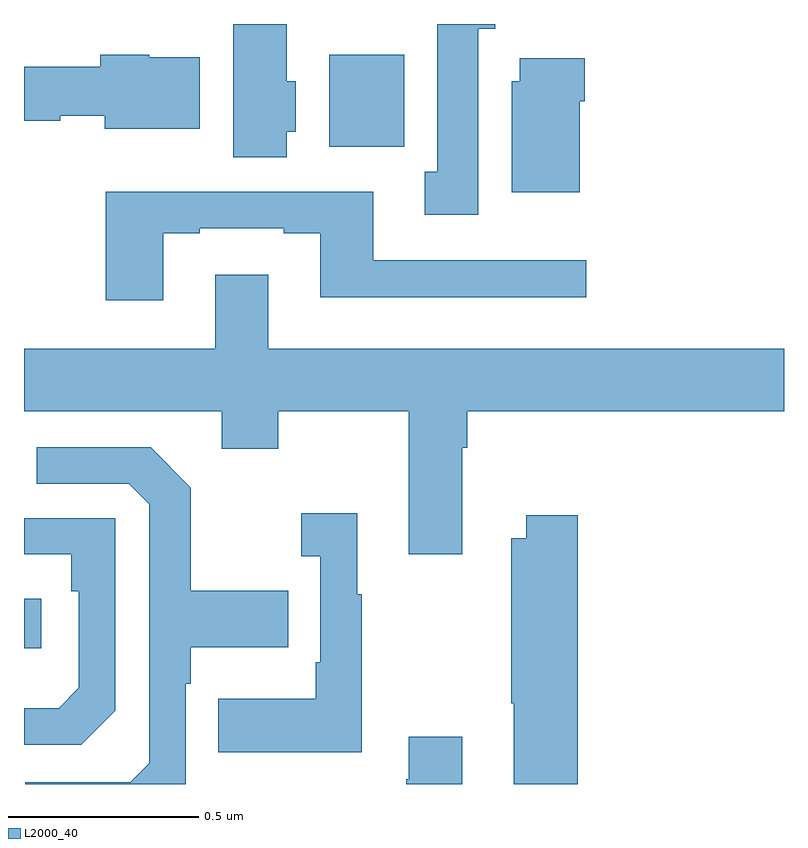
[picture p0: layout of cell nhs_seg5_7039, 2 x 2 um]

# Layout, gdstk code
import gdstk
lib = gdstk.Library(unit=1e-6, precision=1e-09)
def R(c, l, rs):  # rectangles x0, y0, x1, y1
    for r in rs: c.add(gdstk.rectangle(r[:2], r[2:], *l))
def P(c, l, *ps):  # polygons
    for p in ps: c.add(gdstk.Polygon(p, *l))
L2000_40 = (2000, 40)

nhs_seg5_7039 = lib.new_cell('nhs_seg5_7039')
R(nhs_seg5_7039, L2000_40, [(204,836.156,204.046,836.286), (204.803,837.476,205,837.718)])
P(nhs_seg5_7039, L2000_40, [(205.195,837.786),(205.24,837.786),(205.24,837.799),(205.088,837.799),(205.088,837.41),(205.055,837.41),(205.055,837.297),(205.195,837.297)],
  [(204.691,837.516),(204.715,837.516),(204.715,837.648),(204.691,837.648),(204.691,837.799),(204.551,837.799),(204.551,837.449),(204.691,837.449)],
  [(204.463,837.712),(204.33,837.712),(204.33,837.718),(204.2,837.718),(204.2,837.687),(204,837.687),(204,837.545),(204.096,837.545),(204.096,837.557),(204.212,837.557),(204.212,837.524),(204.463,837.524)],
  [(205.462,837.596),(205.475,837.596),(205.475,837.709),(205.304,837.709),(205.304,837.648),(205.283,837.648),(205.283,837.356),(205.462,837.356)],
  [(204.367,837.249),(204.463,837.249),(204.463,837.261),(204.683,837.261),(204.683,837.249),(204.779,837.249),(204.779,837.08),(205.48,837.08),(205.48,837.177),(204.919,837.177),(204.919,837.357),(204.459,837.357),(204.459,837.358),(204.215,837.358),(204.215,837.072),(204.367,837.072)],
  [(205.153,836.684),(205.166,836.684),(205.166,836.78),(206,836.78),(206,836.944),(204.643,836.944),(204.643,837.139),(204.503,837.139),(204.503,836.944),(204,836.944),(204,836.78),(204.521,836.78),(204.521,836.681),(204.669,836.681),(204.669,836.78),(205.013,836.78),(205.013,836.403),(205.153,836.403)],
  [(204.426,836.063),(204.439,836.063),(204.439,836.159),(204.695,836.159),(204.695,836.307),(204.439,836.307),(204.439,836.579),(204.333,836.685),(204.033,836.685),(204.033,836.589),(204.276,836.589),(204.33,836.535),(204.33,835.854),(204.279,835.803),(204.003,835.803),(204.003,835.799),(204.426,835.799)],
  [(204.889,836.299),(204.877,836.299),(204.877,836.512),(204.729,836.512),(204.729,836.399),(204.78,836.399),(204.78,836.119),(204.768,836.119),(204.768,836.023),(204.511,836.023),(204.511,835.883),(204.889,835.883)],
  [(205.457,836.506),(205.322,836.506),(205.322,836.446),(205.282,836.446),(205.282,836.011),(205.289,836.011),(205.289,835.799),(205.457,835.799)],
  [(204.24,835.992),(204.24,836.499),(204,836.499),(204,836.403),(204.124,836.403),(204.124,836.306),(204.144,836.306),(204.144,836.052),(204.091,835.999),(204,835.999),(204,835.902),(204.15,835.902)],
  [(205.153,835.924),(205.013,835.924),(205.013,835.811),(205.006,835.811),(205.006,835.799),(205.153,835.799)])

lib.write_gds('nhs_seg5_7039.gds')
